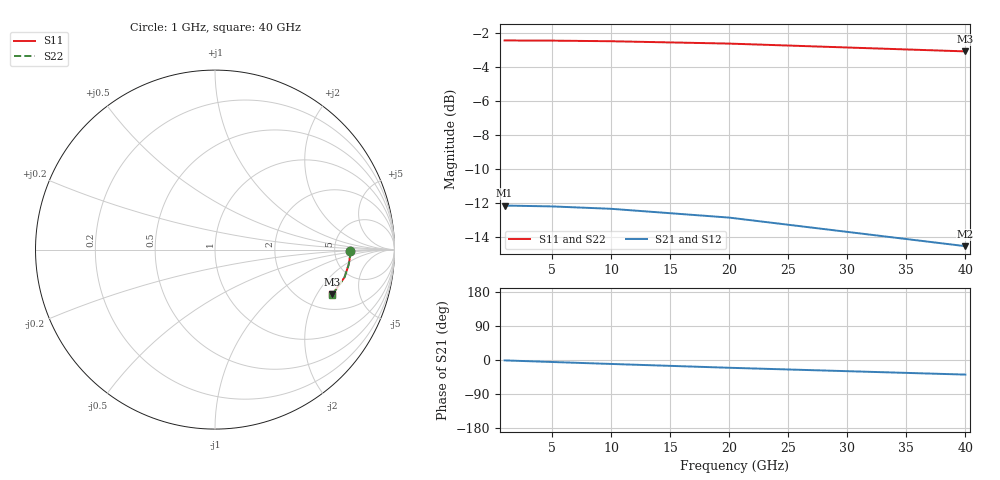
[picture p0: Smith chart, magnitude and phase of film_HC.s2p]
! EM-TFR film section of run HC: hc_dut.s2p de-embedded by half of hc_thru.s2p (README)
# GHz S RI R 50
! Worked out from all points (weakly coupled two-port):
!   5 points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, 1 GHz to 40 GHz, reference 50 ohm
!   highest |S21| = -12.17 dB at 1 GHz (marker M1); lowest = -14.6 dB at 40 GHz (marker M2)
!   lowest |S11| = -3.1 dB at 40 GHz (marker M3), VSWR 5.66, Z = 140 - j137 ohm
!   |S11| at or under -10 dB: nowhere
!   |S22| runs from -3.1 to -2.5 dB; largest |S21 - S12| = 1.1e-07
1  0.7536 -0.00847  0.2463 -0.0045  0.2463 -0.0045  0.7536 -0.00846
5  0.7516 -0.042  0.2438 -0.0223  0.2438 -0.0223  0.7516 -0.0421
10  0.7451 -0.0825  0.237 -0.0435  0.237 -0.0435  0.7451 -0.0827
20  0.7214 -0.1546  0.2126 -0.0795  0.2126 -0.0795  0.7213 -0.1552
40  0.6536 -0.25  0.1464 -0.1165  0.1464 -0.1165  0.653 -0.2518
